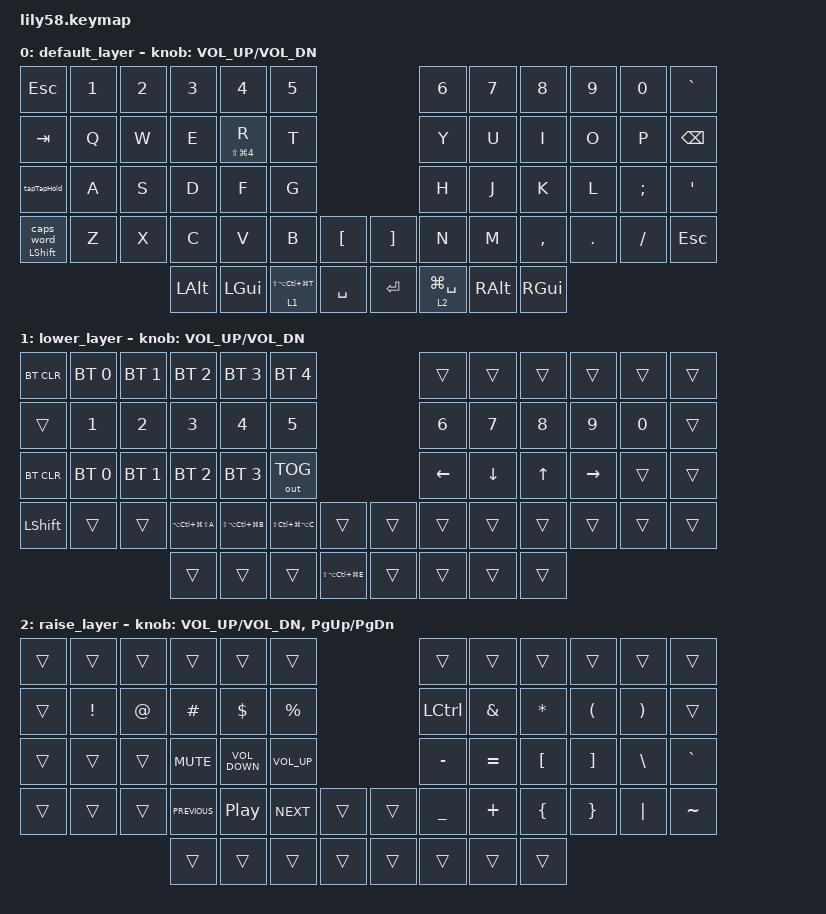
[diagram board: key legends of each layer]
/*
 * Copyright (c) 2020 The ZMK Contributors
 *
 * SPDX-License-Identifier: MIT
 */

#include <behaviors.dtsi>
#include <dt-bindings/zmk/bt.h>
#include <dt-bindings/zmk/keys.h>
#include <dt-bindings/zmk/outputs.h>

/ {
    combos {
        compatible = "zmk,combos";

        jkEsc {
            bindings = <&gresc>;
            key-positions = <31 32>;
        };

        atlBcksp {
            bindings = <&kp LA(BACKSPACE)>;
            key-positions = <30 31 32>;
        };

        backspace {
            bindings = <&kp BACKSPACE>;
            key-positions = <31 32 33>;
        };

        lBracket {
            bindings = <&kp LEFT_BRACKET>;
            key-positions = <17 16>;
        };

        rBracket {
            bindings = <&kp RIGHT_BRACKET>;
            key-positions = <18 19>;
        };

        lPar {
            bindings = <&kp LPAR>;
            key-positions = <28 29>;
        };

        rPar {
            bindings = <&kp RPAR>;
            key-positions = <30 31>;
        };

        lBrace {
            bindings = <&kp LEFT_BRACE>;
            key-positions = <40 41>;
        };

        rBrace {
            bindings = <&kp RIGHT_BRACE>;
            key-positions = <44 45>;
        };
    };

    macros {
    };

    behaviors {
        moAndKP: moAndKP {
            compatible = "zmk,behavior-hold-tap";
            label = "MOANDKP";
            bindings = <&mo>, <&kp>;

            #binding-cells = <2>;
            tapping-term-ms = <120>;
        };

        kpAndCaps: kpAndCaps {
            compatible = "zmk,behavior-hold-tap";
            label = "KPANDCAPS";
            bindings = <&kp>, <&caps_word>;

            #binding-cells = <2>;
            tapping-term-ms = <120>;
        };

        holdOrTapKP: holdOrTapKP {
            compatible = "zmk,behavior-hold-tap";
            label = "HOLDORTAPKP";
            bindings = <&kp>, <&kp>;

            #binding-cells = <2>;
            tapping-term-ms = <120>;
        };

        kpAndLongHold: kpAndLongHold {
            compatible = "zmk,behavior-hold-tap";
            label = "KPANDLONGHOLD";
            bindings = <&kp>, <&kp>;

            #binding-cells = <2>;
            tapping-term-ms = <800>;
            flavor = "tap-preferred";
        };

        tapTapHold: tapTapHold {
            compatible = "zmk,behavior-tap-dance";
            label = "TAPTAPHOLD";
            #binding-cells = <0>;
            bindings = <&kp LC(SPACE)>, <&holdOrTapKP LCTRL LS(LG(SPACE))>;
        };
    };

    keymap {
        compatible = "zmk,keymap";

        default_layer {
            // ------------------------------------------------------------------------------------------------------------
            // |  ESC  |  1  |  2  |  3   |  4   |  5   |                   |  6   |  7    |  8    |  9   |   0   |   `   |
            // |  TAB  |  Q  |  W  |  E   |  R   |  T   |                   |  Y   |  U    |  I    |  O   |   P   |   -   |
            // |  CTRL |  A  |  S  |  D   |  F   |  G   |                   |  H   |  J    |  K    |  L   |   ;   |   '   |
            // | SHIFT |  Z  |  X  |  C   |  V   |  B   |   "["  |  |  "]"  |  N   |  M    |  ,    |  .   |   /   | SHIFT |
            //                     | ALT  | GUI  | LOWER|  SPACE |  | ENTER | RAISE| BSPC  | GUI   |

            bindings = <
&kp ESC             &kp N1  &kp N2  &kp N3    &kp N4                             &kp N5                                               &kp N6                &kp N7    &kp N8     &kp N9   &kp N0    &kp GRAVE
&kp TAB             &kp Q   &kp W   &kp E     &kpAndLongHold LS(LG(NUMBER_4)) R  &kp T                                                &kp Y                 &kp U     &kp I      &kp O    &kp P     &kp BACKSPACE
&tapTapHold         &kp A   &kp S   &kp D     &kp F                              &kp G                                                &kp H                 &kp J     &kp K      &kp L    &kp SEMI  &kp SQT
&kpAndCaps LSHFT 0  &kp Z   &kp X   &kp C     &kp V                              &kp B                         &kp LBKT     &kp RBKT  &kp N                 &kp M     &kp COMMA  &kp DOT  &kp FSLH  &kp ESCAPE
                                    &kp LALT  &kp LGUI                           &moAndKP 1 LS(LA(LC(LG(T))))  &kp SPACE    &kp RET   &moAndKP 2 LG(SPACE)  &kp RALT  &kp RGUI
            >;

            sensor-bindings = <&inc_dec_kp C_VOL_UP C_VOL_DN>;
        };

        lower_layer {
            // ------------------------------------------------------------------------------------------------------------
            // | BTCLR | BT1 | BT2 |  BT3 |  BT4 |  BT5 |                   |      |       |       |      |       |       |
            // |  F1   |  F2 |  F3 |  F4  |  F5  |  F6  |                   |  F7  |  F8   |  F9   |  F10 |  F11  |  F12  |
            // |   `   |  !  |  @  |  #   |  $   |  %   |                   |  ^   |  &    |  *    |  (   |   )   |   ~   |
            // |       |     |     |      |      |      |        |  |       |      |  _    |  +    |  {   |   }   |  "|"  |
            //                     |      |      |      |        |  |       |      |       |       |

            bindings = <
&bt BT_CLR  &bt BT_SEL 0  &bt BT_SEL 1  &bt BT_SEL 2           &bt BT_SEL 3           &bt BT_SEL 4                                            &trans          &trans          &trans        &trans     &trans  &trans
&trans      &kp NUMBER_1  &kp NUMBER_2  &kp NUMBER_3           &kp NUMBER_4           &kp N5                                                  &kp NUMBER_6    &kp N7          &kp N8        &kp N9     &kp N0  &trans
&bt BT_CLR  &bt BT_SEL 0  &bt BT_SEL 1  &bt BT_SEL 2           &bt BT_SEL 3           &out OUT_TOG                                            &kp LEFT_ARROW  &kp DOWN_ARROW  &kp UP_ARROW  &kp RIGHT  &trans  &trans
&kp LSHIFT  &trans        &trans        &kp LA(LC(LG(LS(A))))  &kp LS(LA(LC(LG(B))))  &kp LS(LC(LG(LA(C))))  &trans                   &trans  &trans          &trans          &trans        &trans     &trans  &trans
                                        &trans                 &trans                 &trans                 &kp LS(LA(LC(LG(E))))    &trans  &trans          &trans          &trans
            >;

            sensor-bindings = <&inc_dec_kp C_VOL_UP C_VOL_DN>;
        };

        raise_layer {
            // ------------------------------------------------------------------------------------------------------------
            // |       |     |     |      |      |      |                   |      |       |       |      |       |       |
            // |   `   |  1  |  2  |  3   |  4   |  5   |                   |  6   |   7   |   8   |  9   |   0   |       |
            // |   F1  |  F2 |  F3 |  F4  |  F5  |  F6  |                   |      |   <-  |   v   |  ^   |  ->   |       |
            // |   F7  |  F8 |  F9 |  F10 |  F11 |  F12 |        |  |       |  +   |   -   |   =   |  [   |   ]   |   \   |
            //                     |      |      |      |        |  |       |      |       |       |

            bindings = <
&trans  &trans           &trans       &trans          &trans             &trans                             &trans     &trans         &trans            &trans                &trans                 &trans
&trans  &kp EXCLAMATION  &kp AT_SIGN  &kp HASH        &kp DOLLAR         &kp PERCENT                        &kp LCTRL  &kp AMPERSAND  &kp ASTERISK      &kp LEFT_PARENTHESIS  &kp RIGHT_PARENTHESIS  &trans
&trans  &trans           &trans       &kp C_MUTE      &kp C_VOLUME_DOWN  &kp C_VOLUME_UP                    &kp MINUS  &kp EQUAL      &kp LEFT_BRACKET  &kp RIGHT_BRACKET     &kp BACKSLASH          &kp GRAVE
&trans  &trans           &trans       &kp C_PREVIOUS  &kp C_PP           &kp C_NEXT       &trans    &trans  &kp UNDER  &kp PLUS       &kp LEFT_BRACE    &kp RIGHT_BRACE       &kp PIPE               &kp TILDE
                                      &trans          &trans             &trans           &trans    &trans  &trans     &trans         &trans
            >;

            sensor-bindings = <&inc_dec_kp C_VOL_UP C_VOL_DN &inc_dec_kp PG_UP PG_DN>;
        };
    };
};
